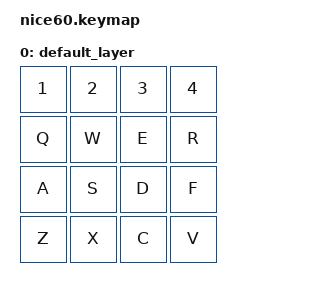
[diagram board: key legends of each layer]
/*
 * Copyright (c) 2021 Nick Winans
 *
 * SPDX-License-Identifier: MIT
 */

#include <behaviors.dtsi>
#include <dt-bindings/zmk/keys.h>
#include <dt-bindings/zmk/bt.h>
#include <dt-bindings/zmk/outputs.h>
// #include <dt-bindings/zmk/reset.h>
#include <dt-bindings/zmk/ext_power.h>
// #include <dt-bindings/zmk/rgb.h>


/ {
	keymap {
		compatible = "zmk,keymap";
		
		default_layer {
// ------------------------------------------------------------------------------------------
// | ESC |  1  |  2  |  3  |  4  |  5  |  6  |  7  |  8  |  9  |  0  |  -  |  =  |   BKSP   |
// | TAB  |  Q  |  W  |  E  |  R  |  T  |  Y  |  U  |  I  |  O  |  P  |  [  |  ]  |   "|"   |
// | CAPS  |  A  |  S  |  D  |  F  |  G  |  H  |  J  |  K  |  L  |  ;  |  '  |     ENTER    |
// |  SHIFT  |  Z  |  X  |  C  |  V  |  B  |  N  |  M  |  ,  |  .  |  /  |      SHIFT       |
// |  CTL  |  WIN  |  ALT  |            SPACE              |  ALT  |  WIN  |  MO(1) |  CTL  |
// ------------------------------------------------------------------------------------------
            bindings = <
    &kp N1       &kp N2      &kp N3   &kp N4     
    &kp Q        &kp W       &kp E    &kp R      
    &kp A        &kp S       &kp D    &kp F      
    &kp Z        &kp X       &kp C    &kp V      
            >;
		};
	};
};
